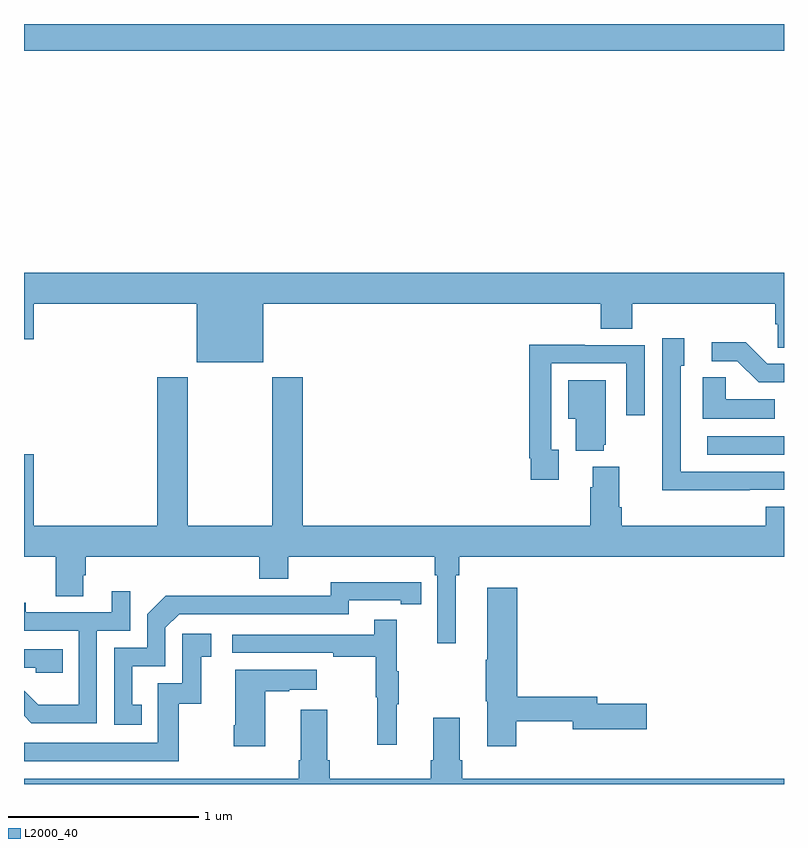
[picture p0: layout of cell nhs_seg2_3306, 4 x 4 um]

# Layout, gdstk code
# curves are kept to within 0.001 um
import gdstk
lib = gdstk.Library(unit=1e-6, precision=1e-09)
def R(c, l, rs):  # rectangles x0, y0, x1, y1
    for r in rs: c.add(gdstk.rectangle(r[:2], r[2:], *l))
def P(c, l, *ps):  # polygons
    for p in ps: c.add(gdstk.Polygon(p, *l))
L2000_40 = (2000, 40)

nhs_seg2_3306 = lib.new_cell('nhs_seg2_3306')
R(nhs_seg2_3306, L2000_40, [(288.597,621.534,289,621.63), (285,623.66,289,623.8)])
P(nhs_seg2_3306, L2000_40, [(286.258,622.328),(288.035,622.328),(288.035,622.195),(288.2,622.195),(288.2,622.328),(288.953,622.328),(288.953,622.219),(288.966,622.219),(288.966,622.096),(289,622.096),(289,622.492),(285,622.492),(285,622.14),(285.052,622.14),(285.052,622.328),(285.908,622.328),(285.908,622.019),(286.258,622.019)],
  [(288.821,621.348),(289,621.348),(289,621.444),(288.456,621.444),(288.456,622.002),(288.475,622.002),(288.475,622.147),(288.36,622.147),(288.36,621.653),(288.358,621.653),(288.358,621.347),(288.821,621.347)],
  [(289,622.011),(288.912,622.011),(288.799,622.124),(288.621,622.124),(288.621,622.026),(288.755,622.026),(288.866,621.915),(289,621.915)],
  [(287.815,621.558),(287.775,621.558),(287.775,622.014),(288.171,622.014),(288.171,621.741),(288.267,621.741),(288.267,622.11),(287.951,622.11),(287.951,622.112),(287.659,622.112),(287.659,621.514),(287.667,621.514),(287.667,621.402),(287.815,621.402)],
  [(288.95,621.826),(288.693,621.826),(288.693,621.941),(288.572,621.941),(288.572,621.722),(288.95,621.722)],
  [(287.272,620.9),(287.291,620.9),(287.291,620.996),(289,620.996),(289,621.259),(288.905,621.259),(288.905,621.16),(288.146,621.16),(288.146,621.256),(288.133,621.256),(288.133,621.469),(287.993,621.469),(287.993,621.362),(287.981,621.362),(287.981,621.16),(286.466,621.16),(286.466,621.94),(286.306,621.94),(286.306,621.16),(285.861,621.16),(285.861,621.94),(285.701,621.94),(285.701,621.16),(285.052,621.16),(285.052,621.535),(285,621.535),(285,620.996),(285.166,620.996),(285.166,620.788),(285.313,620.788),(285.313,620.898),(285.326,620.898),(285.326,620.996),(286.238,620.996),(286.238,620.879),(286.39,620.879),(286.39,620.996),(287.162,620.996),(287.162,620.9),(287.175,620.9),(287.175,620.541),(287.272,620.541)],
  [(288.05,621.585),(288.061,621.585),(288.061,621.925),(287.864,621.925),(287.864,621.722),(287.903,621.722),(287.903,621.554),(288.05,621.554)],
  [(285.62,620.217),(285.571,620.217),(285.571,620.421),(285.744,620.421),(285.744,620.622),(285.816,620.694),(286.71,620.694),(286.71,620.766),(286.982,620.766),(286.982,620.746),(287.09,620.746),(287.09,620.862),(286.614,620.863),(286.614,620.79),(286.154,620.79),(286.154,620.792),(285.746,620.792),(285.648,620.694),(285.648,620.517),(285.474,620.517),(285.474,620.112),(285.62,620.112)],
  [(287.592,620.13),(287.888,620.13),(287.888,620.087),(288.277,620.087),(288.277,620.222),(288.016,620.222),(288.016,620.258),(287.597,620.258),(287.597,620.833),(287.438,620.833),(287.438,620.453),(287.431,620.453),(287.431,620.235),(287.438,620.235),(287.438,619.998),(287.592,619.998)],
  [(285.384,620.607),(285.558,620.607),(285.558,620.815),(285.461,620.815),(285.461,620.703),(285.01,620.703),(285.01,620.755),(285,620.755),(285,620.607),(285.288,620.607),(285.288,620.218),(285.074,620.218),(285,620.292),(285,620.159),(285.038,620.121),(285.384,620.121)],
  [(286.961,620.219),(286.972,620.219),(286.972,620.393),(286.961,620.393),(286.961,620.665),(286.843,620.665),(286.843,620.586),(286.095,620.586),(286.095,620.49),(286.627,620.49),(286.627,620.47),(286.851,620.47),(286.851,620.256),(286.858,620.256),(286.858,620.007),(286.961,620.007)],
  [(285.814,620.223),(285.932,620.223),(285.932,620.469),(285.985,620.469),(285.985,620.59),(285.834,620.59),(285.834,620.331),(285.705,620.331),(285.705,620.016),(285,620.016),(285,619.92),(285.814,619.92)],
  [(285.203,620.508),(285,620.508),(285,620.412),(285.063,620.412),(285.063,620.385),(285.203,620.385)],
  [(286.27,620.287),(286.397,620.287),(286.397,620.297),(286.54,620.297),(286.54,620.401),(286.112,620.401),(286.112,620.11),(286.105,620.11),(286.105,619.998),(286.27,619.998)],
  [(289,619.828),(287.306,619.828),(287.306,619.924),(287.293,619.924),(287.293,620.149),(287.153,620.149),(287.153,619.924),(287.141,619.924),(287.141,619.828),(286.61,619.828),(286.61,619.924),(286.597,619.924),(286.597,620.191),(286.457,620.191),(286.457,619.924),(286.445,619.924),(286.445,619.828),(285,619.828),(285,619.8),(289,619.8)])

lib.write_gds('nhs_seg2_3306.gds')
